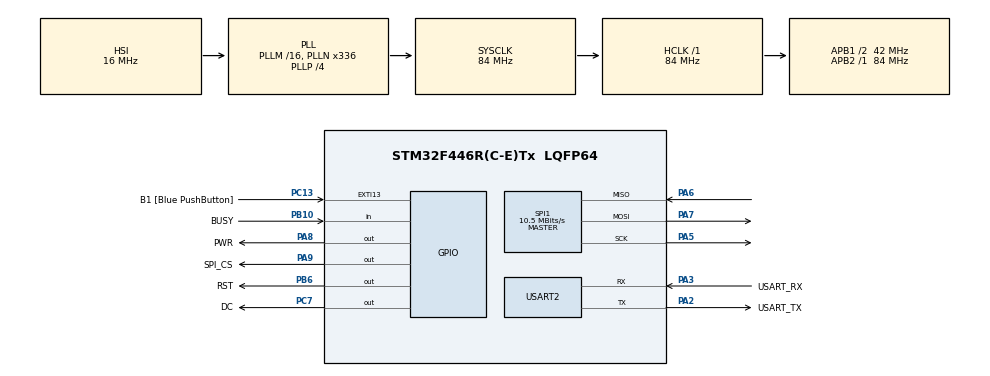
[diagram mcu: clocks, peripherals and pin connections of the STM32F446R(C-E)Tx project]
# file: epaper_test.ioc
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Mcu.Family=STM32F4
Mcu.Name=STM32F446R(C-E)Tx
Mcu.Package=LQFP64
NVIC.PriorityGroup=NVIC_PRIORITYGROUP_0
PA13.GPIO_Label=TMS
PA13.Mode=Serial_Wire
PA13.Signal=SYS_JTMS-SWDIO
PA14.GPIO_Label=TCK
PA14.Mode=Serial_Wire
PA14.Signal=SYS_JTCK-SWCLK
PA2.GPIO_Label=USART_TX
PA2.Mode=Asynchronous
PA2.Signal=USART2_TX
PA3.GPIO_Label=USART_RX
PA3.Mode=Asynchronous
PA3.Signal=USART2_RX
PA5.Mode=Full_Duplex_Master
PA5.Signal=SPI1_SCK
PA6.Mode=Full_Duplex_Master
PA6.Signal=SPI1_MISO
PA7.Mode=Full_Duplex_Master
PA7.Signal=SPI1_MOSI
PA8.GPIO_Label=PWR
PA8.Signal=GPIO_Output
PA9.GPIO_Label=SPI_CS
PA9.Signal=GPIO_Output
PB10.GPIO_Label=BUSY
PB10.Signal=GPIO_Input
PB3.GPIO_Label=SWO
PB3.Signal=SYS_JTDO-SWO
PB6.GPIO_Label=RST
PB6.Signal=GPIO_Output
PC13.GPIO_Label=B1 [Blue PushButton]
PC13.GPIO_ModeDefaultEXTI=GPIO_MODE_IT_FALLING
PC13.Signal=GPXTI13
PC14-OSC32_IN.Mode=LSE-External-Oscillator
PC14-OSC32_IN.Signal=RCC_OSC32_IN
PC15-OSC32_OUT.Mode=LSE-External-Oscillator
PC15-OSC32_OUT.Signal=RCC_OSC32_OUT
PC7.GPIO_Label=DC
PC7.Signal=GPIO_Output
PH0-OSC_IN.Mode=HSE-External-Oscillator
PH0-OSC_IN.Signal=RCC_OSC_IN
PH1-OSC_OUT.Mode=HSE-External-Oscillator
PH1-OSC_OUT.Signal=RCC_OSC_OUT
ProjectManager.HeapSize=0x200
ProjectManager.StackSize=0x400
ProjectManager.TargetToolchain=CMake
RCC.48MHZClocksFreq_Value=84000000
RCC.AHBFreq_Value=84000000
RCC.APB1CLKDivider=RCC_HCLK_DIV2
RCC.APB1Freq_Value=42000000
RCC.APB1TimFreq_Value=84000000
RCC.APB2Freq_Value=84000000
RCC.APB2TimFreq_Value=84000000
RCC.CortexFreq_Value=84000000
RCC.FLatency-AdvancedSettings=FLASH_LATENCY_2
RCC.HCLKFreq_Value=84000000
RCC.HSE_VALUE=8000000
RCC.HSI_VALUE=16000000
RCC.PLLN=336
RCC.PLLP=RCC_PLLP_DIV4
RCC.SYSCLKFreq_VALUE=84000000
RCC.SYSCLKSource=RCC_SYSCLKSOURCE_PLLCLK
RCC.USBFreq_Value=168000000
RCC.VCOOutputFreq_Value=336000000
SPI1.BaudRatePrescaler=SPI_BAUDRATEPRESCALER_8
SPI1.CalculateBaudRate=10.5 MBits/s
SPI1.Direction=SPI_DIRECTION_2LINES
SPI1.Mode=SPI_MODE_MASTER
SPI1.VirtualType=VM_MASTER
USART2.VirtualMode=VM_ASYNC
board=NUCLEO-F446RE

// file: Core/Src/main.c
/* USER CODE BEGIN Header */
/**
  ******************************************************************************
  * @file           : main.c
  * @brief          : Main program body
  ******************************************************************************
  * @attention
  *
  * Copyright (c) 2026 STMicroelectronics.
  * All rights reserved.
  *
  * This software is licensed under terms that can be found in the LICENSE file
  * in the root directory of this software component.
  * If no LICENSE file comes with this software, it is provided AS-IS.
  *
  ******************************************************************************
  */
/* USER CODE END Header */
#include "main.h"

/* USER CODE BEGIN Includes */
#include <stdio.h>
#include "EPD_7in5_V2.h"
#include "GUI_Paint.h"
#include "fonts.h"
/* USER CODE END Includes */

SPI_HandleTypeDef hspi1;

UART_HandleTypeDef huart2;

/* USER CODE BEGIN PV */
/* Framebuffer for the 7.5" V2 panel: 800 x 480 / 8 = 48000 bytes, 1 bit/pixel.
 * Kept as a static array so we don't depend on the tiny (512 B) heap. */
static UBYTE epd_image[EPD_7IN5_V2_WIDTH * EPD_7IN5_V2_HEIGHT / 8];
/* USER CODE END PV */

void SystemClock_Config(void);
static void MX_GPIO_Init(void);
static void MX_USART2_UART_Init(void);
static void MX_SPI1_Init(void);

/* USER CODE BEGIN 0 */
/* Retarget printf() to USART2 (ST-LINK virtual COM port, 115200 8N1).
 * Gives us a debug channel that is independent of the e-paper wiring. */
int __io_putchar(int ch)
{
  HAL_UART_Transmit(&huart2, (uint8_t *)&ch, 1, HAL_MAX_DELAY);
  return ch;
}
/* USER CODE END 0 */

int main(void)
{

  /* MCU Configuration--------------------------------------------------------*/

  /* Reset of all peripherals, Initializes the Flash interface and the Systick. */
  HAL_Init();

  /* Configure the system clock */
  SystemClock_Config();

  /* Initialize all configured peripherals */
  MX_GPIO_Init();
  MX_USART2_UART_Init();
  MX_SPI1_Init();
  /* USER CODE BEGIN 2 */
  /* --- e-paper "hello world" connection test --------------------------------
   * Confirms: MCU alive (UART), SPI + control pins wired correctly (panel
   * clears and renders). If the panel is miswired, the UART banner still
   * prints, and EPD_7IN5_V2_Init() will hang waiting on the BUSY line. */
  printf("\r\n=== e-paper connection test ===\r\n");

  printf("Power on + module init...\r\n");
  DEV_Module_Init();

  /* Fast init = single, quicker full-refresh waveform (less flashing).
   * We skip EPD_7IN5_V2_Clear() because the Display() below writes the whole
   * white-background frame itself, so a separate clear pass is redundant. */
  printf("EPD_7IN5_V2_Init_Fast (waits on BUSY)...\r\n");
  EPD_7IN5_V2_Init_Fast();

  printf("Drawing test image...\r\n");
  /* ROTATE_270 turns the native 800x480 panel into a 480-wide x 800-tall
   * portrait canvas, oriented right-side-up for how the panel sits in the
   * e-reader. The framebuffer stays native, so EPD_7IN5_V2_Display() is
   * unchanged. (Use ROTATE_90 to flip 180 degrees.) */
  Paint_NewImage(epd_image, EPD_7IN5_V2_WIDTH, EPD_7IN5_V2_HEIGHT, ROTATE_270, WHITE);
  Paint_SelectImage(epd_image);
  Paint_Clear(WHITE);

  /* Portrait drawing area: 480 wide, 800 tall. Colors are (foreground, background). */
  #define EPD_PORTRAIT_W EPD_7IN5_V2_HEIGHT   /* 480 */
  #define EPD_PORTRAIT_H EPD_7IN5_V2_WIDTH    /* 800 */

  /* Border so we can see the panel edges are addressed */
  Paint_DrawRectangle(5, 5, EPD_PORTRAIT_W - 5, EPD_PORTRAIT_H - 5,
                      BLACK, DOT_PIXEL_2X2, DRAW_FILL_EMPTY);
  Paint_DrawString_EN(40, 120, "Hello, e-paper!", &Font24, BLACK, WHITE);
  Paint_DrawString_EN(40, 180, "STM32F446 + 7.5\" V2", &Font16, BLACK, WHITE);
  Paint_DrawString_EN(40, 210, "portrait, 480 x 800", &Font16, BLACK, WHITE);

  printf("Full refresh...\r\n");
  EPD_7IN5_V2_Display(epd_image);
  EPD_7IN5_V2_Clear();
  EPD_7IN5_V2_Sleep();

  /* USER CODE END 2 */

  /* Infinite loop */
  while (1)
  {

  }
}

void SystemClock_Config(void)
{
  RCC_OscInitTypeDef RCC_OscInitStruct = {0};
  RCC_ClkInitTypeDef RCC_ClkInitStruct = {0};

  /** Configure the main internal regulator output voltage
  */
  __HAL_RCC_PWR_CLK_ENABLE();
  __HAL_PWR_VOLTAGESCALING_CONFIG(PWR_REGULATOR_VOLTAGE_SCALE3);

  /** Initializes the RCC Oscillators according to the specified parameters
  * in the RCC_OscInitTypeDef structure.
  */
  RCC_OscInitStruct.OscillatorType = RCC_OSCILLATORTYPE_HSI;
  RCC_OscInitStruct.HSIState = RCC_HSI_ON;
  RCC_OscInitStruct.HSICalibrationValue = RCC_HSICALIBRATION_DEFAULT;
  RCC_OscInitStruct.PLL.PLLState = RCC_PLL_ON;
  RCC_OscInitStruct.PLL.PLLSource = RCC_PLLSOURCE_HSI;
  RCC_OscInitStruct.PLL.PLLM = 16;
  RCC_OscInitStruct.PLL.PLLN = 336;
  RCC_OscInitStruct.PLL.PLLP = RCC_PLLP_DIV4;
  RCC_OscInitStruct.PLL.PLLQ = 2;
  RCC_OscInitStruct.PLL.PLLR = 2;
  if (HAL_RCC_OscConfig(&RCC_OscInitStruct) != HAL_OK)
  {
    Error_Handler();
  }

  /** Initializes the CPU, AHB and APB buses clocks
  */
  RCC_ClkInitStruct.ClockType = RCC_CLOCKTYPE_HCLK|RCC_CLOCKTYPE_SYSCLK
                              |RCC_CLOCKTYPE_PCLK1|RCC_CLOCKTYPE_PCLK2;
  RCC_ClkInitStruct.SYSCLKSource = RCC_SYSCLKSOURCE_PLLCLK;
  RCC_ClkInitStruct.AHBCLKDivider = RCC_SYSCLK_DIV1;
  RCC_ClkInitStruct.APB1CLKDivider = RCC_HCLK_DIV2;
  RCC_ClkInitStruct.APB2CLKDivider = RCC_HCLK_DIV1;

  if (HAL_RCC_ClockConfig(&RCC_ClkInitStruct, FLASH_LATENCY_2) != HAL_OK)
  {
    Error_Handler();
  }
}

static void MX_SPI1_Init(void)
{

  /* SPI1 parameter configuration*/
  hspi1.Instance = SPI1;
  hspi1.Init.Mode = SPI_MODE_MASTER;
  hspi1.Init.Direction = SPI_DIRECTION_2LINES;
  hspi1.Init.DataSize = SPI_DATASIZE_8BIT;
  hspi1.Init.CLKPolarity = SPI_POLARITY_LOW;
  hspi1.Init.CLKPhase = SPI_PHASE_1EDGE;
  hspi1.Init.NSS = SPI_NSS_SOFT;
  hspi1.Init.BaudRatePrescaler = SPI_BAUDRATEPRESCALER_8;
  hspi1.Init.FirstBit = SPI_FIRSTBIT_MSB;
  hspi1.Init.TIMode = SPI_TIMODE_DISABLE;
  hspi1.Init.CRCCalculation = SPI_CRCCALCULATION_DISABLE;
  hspi1.Init.CRCPolynomial = 10;
  if (HAL_SPI_Init(&hspi1) != HAL_OK)
  {
    Error_Handler();
  }

}

static void MX_USART2_UART_Init(void)
{

  huart2.Instance = USART2;
  huart2.Init.BaudRate = 115200;
  huart2.Init.WordLength = UART_WORDLENGTH_8B;
  huart2.Init.StopBits = UART_STOPBITS_1;
  huart2.Init.Parity = UART_PARITY_NONE;
  huart2.Init.Mode = UART_MODE_TX_RX;
  huart2.Init.HwFlowCtl = UART_HWCONTROL_NONE;
  huart2.Init.OverSampling = UART_OVERSAMPLING_16;
  if (HAL_UART_Init(&huart2) != HAL_OK)
  {
    Error_Handler();
  }

}

static void MX_GPIO_Init(void)
{
  GPIO_InitTypeDef GPIO_InitStruct = {0};

  /* GPIO Ports Clock Enable */
  __HAL_RCC_GPIOC_CLK_ENABLE();
  __HAL_RCC_GPIOH_CLK_ENABLE();
  __HAL_RCC_GPIOA_CLK_ENABLE();
  __HAL_RCC_GPIOB_CLK_ENABLE();

  /*Configure GPIO pin Output Level */
  HAL_GPIO_WritePin(DC_GPIO_Port, DC_Pin, GPIO_PIN_RESET);

  /*Configure GPIO pin Output Level */
  HAL_GPIO_WritePin(GPIOA, PWR_Pin|SPI_CS_Pin, GPIO_PIN_RESET);

  /*Configure GPIO pin Output Level */
  HAL_GPIO_WritePin(RST_GPIO_Port, RST_Pin, GPIO_PIN_RESET);

  /*Configure GPIO pin : B1_Pin */
  GPIO_InitStruct.Pin = B1_Pin;
  GPIO_InitStruct.Mode = GPIO_MODE_IT_FALLING;
  GPIO_InitStruct.Pull = GPIO_NOPULL;
  HAL_GPIO_Init(B1_GPIO_Port, &GPIO_InitStruct);

  /*Configure GPIO pin : BUSY_Pin */
  GPIO_InitStruct.Pin = BUSY_Pin;
  GPIO_InitStruct.Mode = GPIO_MODE_INPUT;
  GPIO_InitStruct.Pull = GPIO_NOPULL;
  HAL_GPIO_Init(BUSY_GPIO_Port, &GPIO_InitStruct);

  /*Configure GPIO pin : DC_Pin */
  GPIO_InitStruct.Pin = DC_Pin;
  GPIO_InitStruct.Mode = GPIO_MODE_OUTPUT_PP;
  GPIO_InitStruct.Pull = GPIO_NOPULL;
  GPIO_InitStruct.Speed = GPIO_SPEED_FREQ_LOW;
  HAL_GPIO_Init(DC_GPIO_Port, &GPIO_InitStruct);

  /*Configure GPIO pins : PWR_Pin SPI_CS_Pin */
  GPIO_InitStruct.Pin = PWR_Pin|SPI_CS_Pin;
  GPIO_InitStruct.Mode = GPIO_MODE_OUTPUT_PP;
  GPIO_InitStruct.Pull = GPIO_NOPULL;
  GPIO_InitStruct.Speed = GPIO_SPEED_FREQ_LOW;
  HAL_GPIO_Init(GPIOA, &GPIO_InitStruct);

  /*Configure GPIO pin : RST_Pin */
  GPIO_InitStruct.Pin = RST_Pin;
  GPIO_InitStruct.Mode = GPIO_MODE_OUTPUT_PP;
  GPIO_InitStruct.Pull = GPIO_NOPULL;
  GPIO_InitStruct.Speed = GPIO_SPEED_FREQ_LOW;
  HAL_GPIO_Init(RST_GPIO_Port, &GPIO_InitStruct);

}

void Error_Handler(void)
{
  __disable_irq();
  while (1)
  {
  }
}
